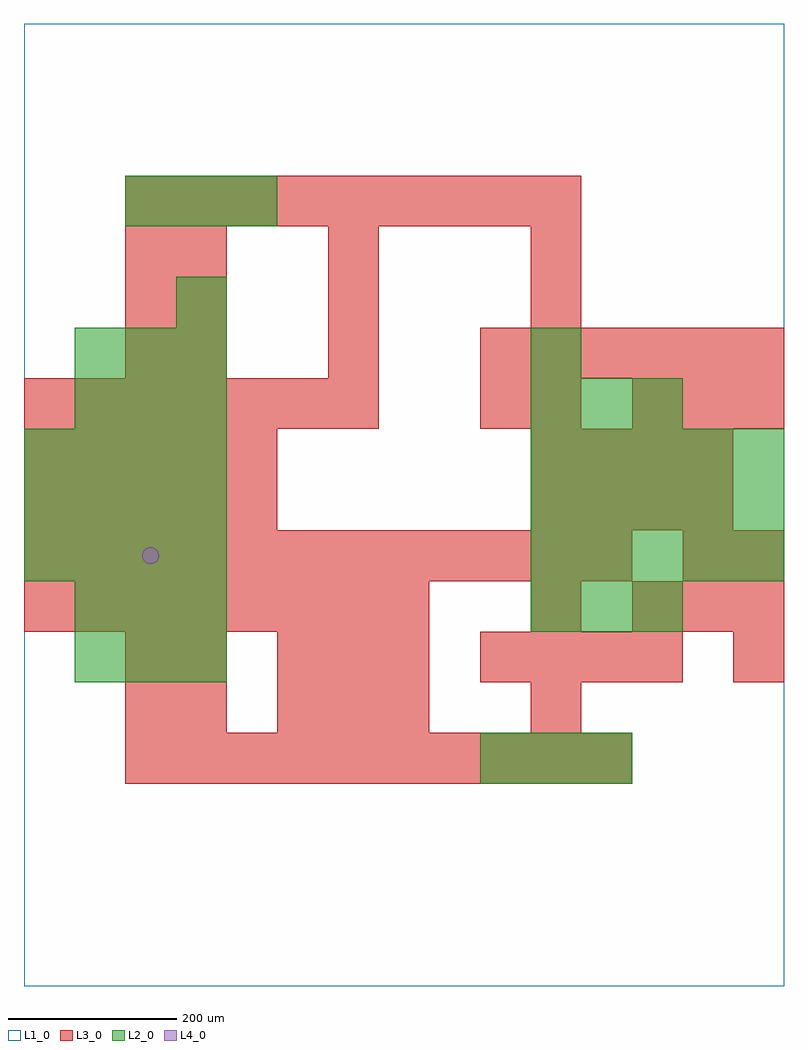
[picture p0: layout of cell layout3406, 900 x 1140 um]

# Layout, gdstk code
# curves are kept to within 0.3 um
import gdstk
lib = gdstk.Library(unit=1e-6, precision=1e-09)
def R(c, l, rs):  # rectangles x0, y0, x1, y1
    for r in rs: c.add(gdstk.rectangle(r[:2], r[2:], *l))
def A(c, l, x, y, w, h, nx, ny, dx, dy):  # array of equal rectangles
    R(c, l, [(x+i*dx, y+j*dy, x+i*dx+w, y+j*dy+h) for i in range(nx) for j in range(ny)])
def P(c, l, *ps):  # polygons
    for p in ps: c.add(gdstk.Polygon(p, *l))
L1_0 = (1, 0)
L2_0 = (2, 0)
L3_0 = (3, 0)
L4_0 = (4, 0)

layout3406 = lib.new_cell('layout3406')
R(layout3406, L1_0, [(0,0,900,1140)])
A(layout3406, L2_0, 540, 240, 60, 60, 3, 1, 60, 0)
A(layout3406, L2_0, 60, 360, 60, 60, 3, 2, 60, 60)
A(layout3406, L2_0, 600, 420, 60, 60, 3, 2, 60, 240)
A(layout3406, L2_0, 0, 480, 60, 60, 4, 3, 60, 60)
A(layout3406, L2_0, 600, 480, 60, 60, 5, 3, 60, 60)
A(layout3406, L2_0, 60, 660, 60, 60, 3, 2, 60, 60)
A(layout3406, L2_0, 120, 900, 60, 60, 3, 1, 60, 0)
R(layout3406, L2_0, [(600,720,660,780), (180,780,240,840)])
A(layout3406, L3_0, 120, 240, 60, 60, 10, 1, 60, 0)
A(layout3406, L3_0, 300, 300, 60, 60, 3, 2, 60, 60)
A(layout3406, L3_0, 540, 360, 60, 60, 4, 1, 60, 0)
A(layout3406, L3_0, 0, 420, 60, 60, 8, 1, 60, 0)
A(layout3406, L3_0, 720, 420, 60, 60, 3, 2, 60, 240)
A(layout3406, L3_0, 0, 480, 60, 60, 12, 1, 60, 0)
A(layout3406, L3_0, 0, 540, 60, 60, 5, 2, 60, 60)
A(layout3406, L3_0, 600, 540, 60, 60, 4, 2, 60, 60)
A(layout3406, L3_0, 0, 660, 60, 60, 7, 1, 60, 0)
A(layout3406, L3_0, 120, 720, 60, 60, 1, 3, 0, 60)
A(layout3406, L3_0, 180, 720, 60, 60, 3, 1, 180, 0)
A(layout3406, L3_0, 600, 720, 60, 60, 5, 1, 60, 0)
A(layout3406, L3_0, 120, 900, 60, 60, 9, 1, 60, 0)
R(layout3406, L3_0, [(120,300,180,360), (180,300,240,360), (600,300,660,360), (120,360,180,420), (180,360,240,420), (840,360,900,420), (600,420,660,480), (780,480,840,540), (840,480,900,540), (540,660,600,720), (600,660,660,720), (180,780,240,840), (360,780,420,840), (600,780,660,840), (180,840,240,900), (360,840,420,900), (600,840,660,900)])
P(layout3406, L4_0, [(160,510),(159.239,513.827),(157.071,517.071),(153.827,519.239),(150,520),(146.173,519.239),(142.929,517.071),(140.761,513.827),(140,510),(140.761,506.173),(142.929,502.929),(146.173,500.761),(150,500),(153.827,500.761),(157.071,502.929),(159.239,506.173)])

lib.write_gds('layout3406.gds')
